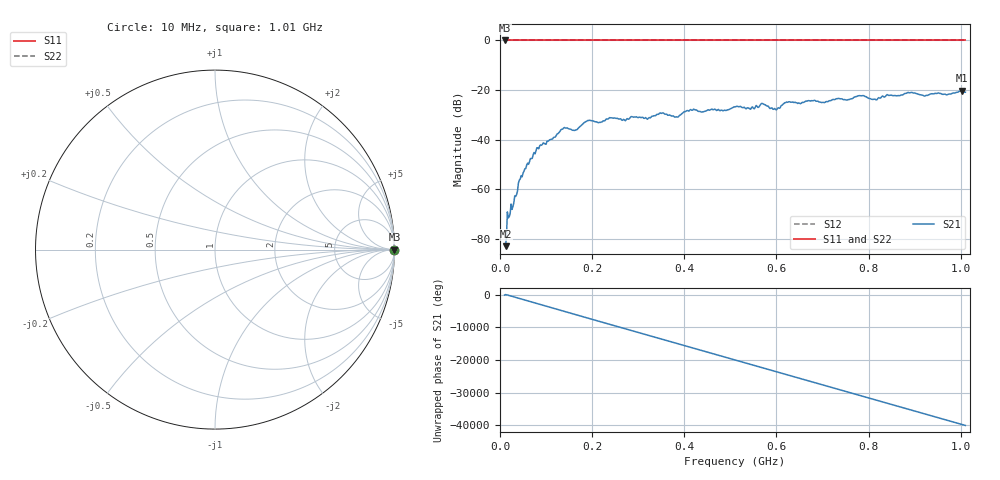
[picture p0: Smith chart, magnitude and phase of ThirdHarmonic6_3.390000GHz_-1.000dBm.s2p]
! 8/17/2025 10:48:07 AM
! C:\ANRITSUVNA\TEMP\TEMP.S2P
! CHANNEL.1
! TR.MEASUREMENT
! RAW.DATA
! RF.CORRECTION.OFF
! AVERAGING.OFF
! IF.BANDWIDTH: 5KHZ
! SWEEPTYPE:  FREQ.SWEEP(Linear)
! Reference Plane Port Info
! PORT:  PORT1  PORT2
! DISTANCE:  0  m  0  m
! TIME:  0  s  0  s
! PHASE.OFFSET:  0  deg.  0  deg.
! LOSS:  0  dB  0  dB
! REF.LOSS:  0  dB  0  dB
! REF.FREQ:  0  Hz  0  Hz
! Power Info
! POWER:  -20  dBm  -20  dBm
! EFF.POWER:  -20  dBm  -20  dBm
! SOURCE.ATTEN:  0  dB  0  dB
! TEST.ATTEN:  0  dB  0  dB
# GHZ S RI R 50.0
! FREQ.GHZ  S11RE  S11IM  S21RE  S21IM  S12RE  S12IM  S22RE  S22IM
!; PortSelection: Port_12
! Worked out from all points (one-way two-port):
!   501 points, 10 MHz to 1.01 GHz, reference 50 ohm
!   highest |S21| = -20.26 dB at 1.002 GHz (marker M1); lowest = -82.9 dB at 12 MHz (marker M2)
!   lowest |S11| = 0.0 dB at 10 MHz (marker M3)
!   |S11| at or under -10 dB: nowhere
!   |S22| runs from 0.0 to 0.0 dB; largest |S21 - S12| = 1.1
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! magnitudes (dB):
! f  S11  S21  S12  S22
! 10 MHz  0.0  -82.5  0.0  0.0
! 12 MHz  0.0  -82.9  0.0  0.0
! 20 MHz  0.0  -71.1  0.0  0.0
! 30 MHz  0.0  -65.5  0.0  0.0
! 44 MHz  0.0  -55.8  0.0  0.0
! 78 MHz  0.0  -44.6  0.0  0.0
! 136 MHz  0.0  -35.7  0.0  0.0
! 162 MHz  0.0  -36.3  0.0  0.0
! 178 MHz  0.0  -34.0  0.0  0.0
! 344 MHz  0.0  -29.8  0.0  0.0
! 382 MHz  0.0  -30.8  0.0  0.0
! 416 MHz  0.0  -28.1  0.0  0.0
! 510 MHz  0.0  -26.8  0.0  0.0
! 570 MHz  0.0  -25.4  0.0  0.0
! 596 MHz  0.0  -27.4  0.0  0.0
! 622 MHz  0.0  -24.8  0.0  0.0
! 678 MHz  0.0  -24.3  0.0  0.0
! 784 MHz  0.0  -22.3  0.0  0.0
! 814 MHz  0.0  -23.7  0.0  0.0
! 844 MHz  0.0  -22.2  0.0  0.0
! 1.002 GHz  0.0  -20.3  0.0  0.0
! 1.01 GHz  0.0  -20.9  0.0  0.0
